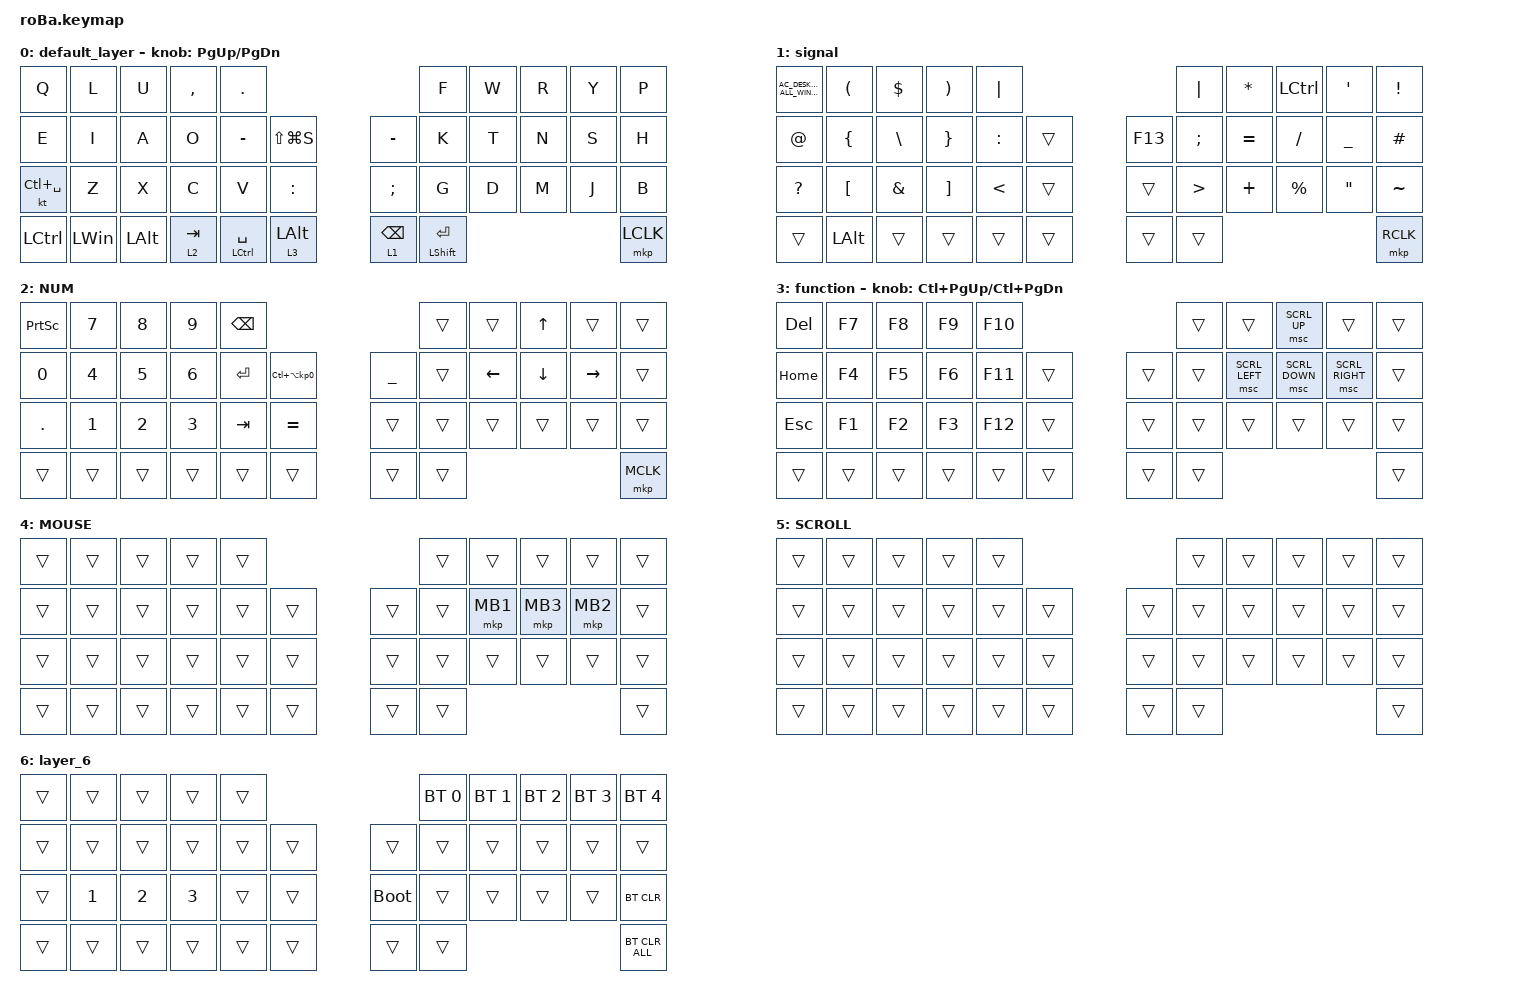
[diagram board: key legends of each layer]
#include <behaviors.dtsi>
#include <dt-bindings/zmk/bt.h>
#include <dt-bindings/zmk/keys.h>
#include <dt-bindings/zmk/keys.h>
#include <dt-bindings/zmk/pointing.h>
#include <dt-bindings/zmk/pointing.h>

#define MOUSE 4
#define SCROLL 5
#define NUM 6

&mt {
    flavor = "balanced";
    quick-tap-ms = <0>;
};

/ {
    combos {
        compatible = "zmk,combos";

        tab {
            bindings = <&kp TAB>;
            key-positions = <11 12>;
        };

        shift_tab {
            bindings = <&kp LS(TAB)>;
            key-positions = <12 13>;
        };

        muhennkann {
            bindings = <&to_layer_0 INT_MUHENKAN>;
            key-positions = <11 10>;
        };

        double_quotation {
            bindings = <&kp DOUBLE_QUOTES>;
            key-positions = <20 21>;
        };

        eq {
            bindings = <&kp EQUAL>;
            key-positions = <24 25>;
        };
    };

    macros {
        to_layer_0: to_layer_0 {
            compatible = "zmk,behavior-macro-one-param";
            #binding-cells = <1>;
            bindings =
                <&to 0 &macro_param_1to1 &kp MACRO_PLACEHOLDER>,
                <&macro_press>;

            label = "TO_LAYER_0";
        };
    };

    behaviors {
        lt_to_layer_0: lt_to_layer_0 {
            compatible = "zmk,behavior-hold-tap";
            label = "LAYER_TAP_TO_0";
            bindings = <&mo>, <&to_layer_0>;

            #binding-cells = <2>;
            tapping-term-ms = <200>;
        };
    };

    keymap {
        compatible = "zmk,keymap";

        default_layer {
            bindings = <
&kp Q          &kp L         &kp U         &kp COMMA             &kp PERIOD                                                       &kp F                 &kp W  &kp R  &kp Y  &kp P
&kp E          &kp I         &kp A         &kp O                 &kp MINUS        &kp LS(LG(S))                  &kp MINUS        &kp K                 &kp T  &kp N  &kp S  &kp H
&kt LC(SPACE)  &kp Z         &kp X         &kp C                 &kp V            &kp COLON                      &kp SEMICOLON    &kp G                 &kp D  &kp M  &kp J  &kp B
&kp LCTRL      &kp LEFT_WIN  &kp LEFT_ALT  &lt_to_layer_0 2 TAB  &mt LCTRL SPACE  &lt_to_layer_0 3 LEFT_ALT      &lt 1 BACKSPACE  &mt LEFT_SHIFT ENTER                       &mkp LCLK
            >;

            sensor-bindings = <&inc_dec_kp PG_UP PAGE_DOWN>;
        };

        signal {
            bindings = <
&kp C_AC_DESKTOP_SHOW_ALL_WINDOWS  &kp LEFT_PARENTHESIS  &kp DOLLAR     &kp RIGHT_PARENTHESIS  &kp PIPE                            &kp PIPE          &kp ASTERISK  &kp LCTRL    &kp SQT            &kp EXCLAMATION
&kp AT_SIGN                        &kp LEFT_BRACE        &kp BACKSLASH  &kp RIGHT_BRACE        &kp COLON      &trans      &kp F13  &kp SEMICOLON     &kp EQUAL     &kp SLASH    &kp UNDERSCORE     &kp HASH
&kp QUESTION                       &kp LEFT_BRACKET      &kp AMPERSAND  &kp RIGHT_BRACKET      &kp LESS_THAN  &trans      &trans   &kp GREATER_THAN  &kp PLUS      &kp PERCENT  &kp DOUBLE_QUOTES  &kp TILDE
&trans                             &kp LEFT_ALT          &trans         &trans                 &trans         &trans      &trans   &trans                                                          &mkp RCLK
            >;
        };

        NUM {
            bindings = <
&kp PRINTSCREEN  &kp N7        &kp N8        &kp N9        &kp BACKSPACE                                               &trans  &trans          &kp UP_ARROW    &trans           &trans
&kp N0           &kp NUMBER_4  &kp N5        &kp NUMBER_6  &kp ENTER      &kp LC(LA(KP_NUMBER_0))      &kp UNDERSCORE  &trans  &kp LEFT_ARROW  &kp DOWN_ARROW  &kp RIGHT_ARROW  &trans
&kp PERIOD       &kp NUMBER_1  &kp NUMBER_2  &kp NUMBER_3  &kp TAB        &kp EQUAL                    &trans          &trans  &trans          &trans          &trans           &trans
&trans           &trans        &trans        &trans        &trans         &trans                       &trans          &trans                                                   &mkp MCLK
            >;
        };

        function {
            bindings = <
&kp DEL   &kp F7  &kp F8  &kp F9  &kp F10                      &trans  &trans          &msc SCRL_UP    &trans           &trans
&kp HOME  &kp F4  &kp F5  &kp F6  &kp F11  &trans      &trans  &trans  &msc SCRL_LEFT  &msc SCRL_DOWN  &msc SCRL_RIGHT  &trans
&kp ESC   &kp F1  &kp F2  &kp F3  &kp F12  &trans      &trans  &trans  &trans          &trans          &trans           &trans
&trans    &trans  &trans  &trans  &trans   &trans      &trans  &trans                                                   &trans
            >;

            sensor-bindings = <&inc_dec_kp LC(PAGE_UP) LC(PAGE_DOWN)>;
        };

        MOUSE {
            bindings = <
&trans  &trans  &trans  &trans  &trans                      &trans  &trans    &trans    &trans    &trans
&trans  &trans  &trans  &trans  &trans  &trans      &trans  &trans  &mkp MB1  &mkp MB3  &mkp MB2  &trans
&trans  &trans  &trans  &trans  &trans  &trans      &trans  &trans  &trans    &trans    &trans    &trans
&trans  &trans  &trans  &trans  &trans  &trans      &trans  &trans                                &trans
            >;
        };

        SCROLL {
            bindings = <
&trans  &trans  &trans  &trans  &trans                      &trans  &trans  &trans  &trans  &trans
&trans  &trans  &trans  &trans  &trans  &trans      &trans  &trans  &trans  &trans  &trans  &trans
&trans  &trans  &trans  &trans  &trans  &trans      &trans  &trans  &trans  &trans  &trans  &trans
&trans  &trans  &trans  &trans  &trans  &trans      &trans  &trans                          &trans
            >;
        };

        layer_6 {
            bindings = <
&trans  &trans        &trans        &trans        &trans                           &bt BT_SEL 0  &bt BT_SEL 1  &bt BT_SEL 2  &bt BT_SEL 3  &bt BT_SEL 4
&trans  &trans        &trans        &trans        &trans  &trans      &trans       &trans        &trans        &trans        &trans        &trans
&trans  &kp NUMBER_1  &kp NUMBER_2  &kp NUMBER_3  &trans  &trans      &bootloader  &trans        &trans        &trans        &trans        &bt BT_CLR
&trans  &trans        &trans        &trans        &trans  &trans      &trans       &trans                                                  &bt BT_CLR_ALL
            >;
        };
    };
};
